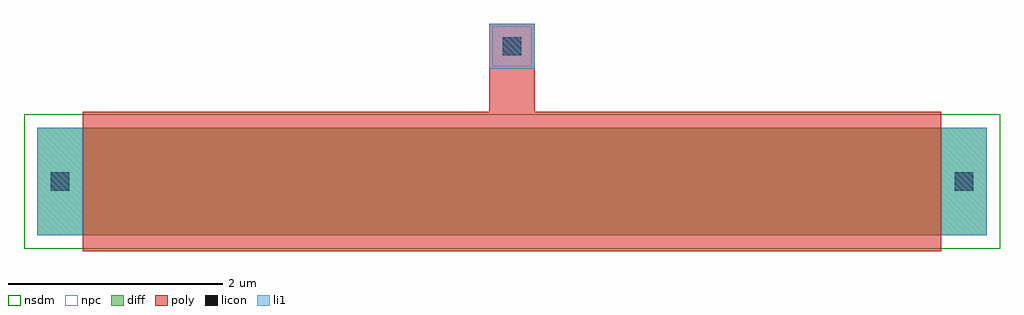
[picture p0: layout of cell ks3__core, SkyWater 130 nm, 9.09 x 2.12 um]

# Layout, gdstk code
import gdstk
lib = gdstk.Library(unit=1e-6, precision=1e-09)
def R(c, l, rs):  # rectangles x0, y0, x1, y1
    for r in rs: c.add(gdstk.rectangle(r[:2], r[2:], *l))
diff = (65, 20)
poly = (66, 20)
licon = (66, 44)
li1 = (67, 20)
nsdm = (93, 44)
npc = (95, 20)

ks3__core = lib.new_cell('ks3__core')
R(ks3__core, diff, [(0,0,8.84,1)])
R(ks3__core, poly, [(0.42,-0.15,8.42,1), (0.42,1,8.42,1.15), (0.42,1,8.42,1.15), (4.21,1.15,4.63,1.97)])
R(ks3__core, licon, [(0.125,0.415,0.295,0.585), (8.545,0.415,8.715,0.585), (4.335,1.675,4.505,1.845)])
R(ks3__core, li1, [(0,0,0.42,1), (8.42,0,8.84,1), (4.21,1.55,4.63,1.97)])
R(ks3__core, nsdm, [(-0.125,-0.125,8.965,1.125)])
R(ks3__core, npc, [(4.235,1.575,4.605,1.945)])

lib.write_gds('ks3__core.gds')
